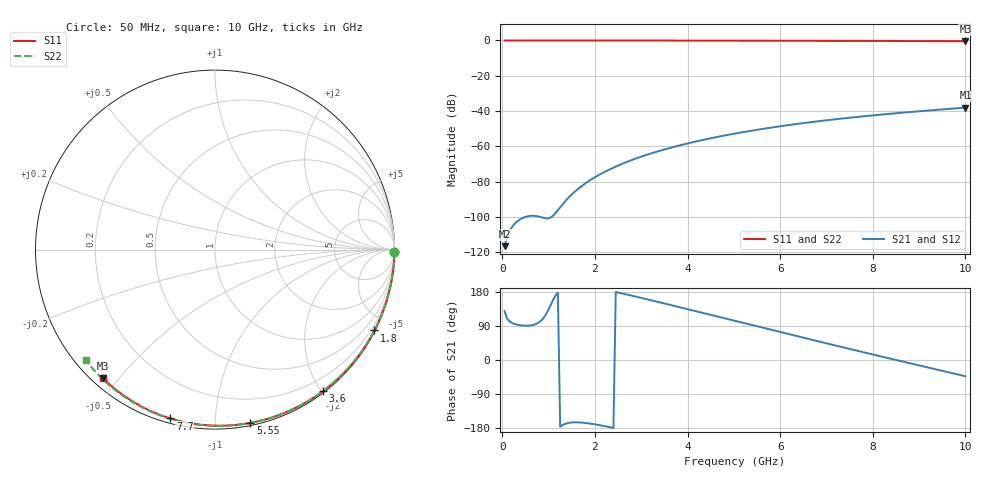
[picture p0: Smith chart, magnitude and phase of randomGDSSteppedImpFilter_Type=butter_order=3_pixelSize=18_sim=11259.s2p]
! freq	dB(S11)	phase(S11)	dB(S12)	phase(S12)
!  dB(S21)	phase(S21)	dB(S22)	phase(S22)
!S-par simulation data
#  GHz  S  DB  R 50
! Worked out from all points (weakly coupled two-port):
!   200 points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, 50 MHz to 10 GHz, reference 50 ohm
!   highest |S21| = -38.07 dB at 10 GHz (marker M1); lowest = -116.6 dB at 50 MHz (marker M2)
!   lowest |S11| = -0.4 dB at 10 GHz (marker M3), VSWR 39.12, Z = 1.54 - j22.7 ohm
!   |S11| at or under -10 dB: nowhere
!   |S22| runs from -0.5 to 0.0 dB; largest |S21 - S12| = 0
!   S11 on the Smith chart (normalised r, x): 50 MHz: open; 1.8 GHz: 0.04, -4.19; 3.6 GHz: 0.02, -2.03; 5.55 GHz: 0.02, -1.22; 7.7 GHz: 0.02, -0.77; 10 GHz: 0.03, -0.45
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0.05  -0.00 -0.8  -116.61 129.1  -116.61 129.1  -0.00 -0.8
0.45  -0.01 -6.8  -100.50 90.8  -100.50 90.8  -0.01 -7.3
0.9  -0.02 -13.6  -100.61 112.4  -100.61 112.4  -0.02 -14.4
1.75  -0.03 -26.1  -81.84 -165.5  -81.84 -165.5  -0.04 -27.8
1.8  -0.03 -26.9  -80.90 -166.2  -80.90 -166.2  -0.04 -28.6
1.85  -0.04 -27.6  -80.01 -167.0  -80.01 -167.0  -0.04 -29.4
2.15  -0.04 -32.0  -75.33 -173.1  -75.33 -173.1  -0.04 -34.0
2.35  -0.04 -34.9  -72.70 -178.0  -72.70 -178.0  -0.05 -37.1
2.55  -0.05 -37.7  -70.36 176.7  -70.36 176.7  -0.05 -40.2
2.95  -0.06 -43.4  -66.32 165.4  -66.32 165.4  -0.06 -46.2
3.4  -0.07 -49.8  -62.54 152.2  -62.54 152.2  -0.07 -52.9
3.6  -0.07 -52.5  -61.06 146.2  -61.06 146.2  -0.08 -55.9
3.9  -0.08 -56.7  -59.01 137.2  -59.01 137.2  -0.08 -60.2
4.3  -0.09 -62.1  -56.56 125.1  -56.56 125.1  -0.09 -66.0
5.05  -0.11 -72.0  -52.66 102.5  -52.66 102.5  -0.12 -76.5
5.55  -0.13 -78.5  -50.44 87.4  -50.44 87.4  -0.14 -83.3
6.1  -0.15 -85.4  -48.27 70.8  -48.27 70.8  -0.16 -90.7
6.7  -0.18 -92.8  -46.19 52.9  -46.19 52.9  -0.19 -98.5
7.7  -0.24 -104.8  -43.25 23.3  -43.25 23.3  -0.26 -111.2
8.35  -0.29 -112.4  -41.61 4.4  -41.61 4.4  -0.31 -119.3
9.2  -0.36 -122.1  -39.71 -20.0  -39.71 -20.0  -0.39 -129.7
10  -0.44 -131.1  -38.07 -42.9  -38.07 -42.9  -0.47 -139.4
